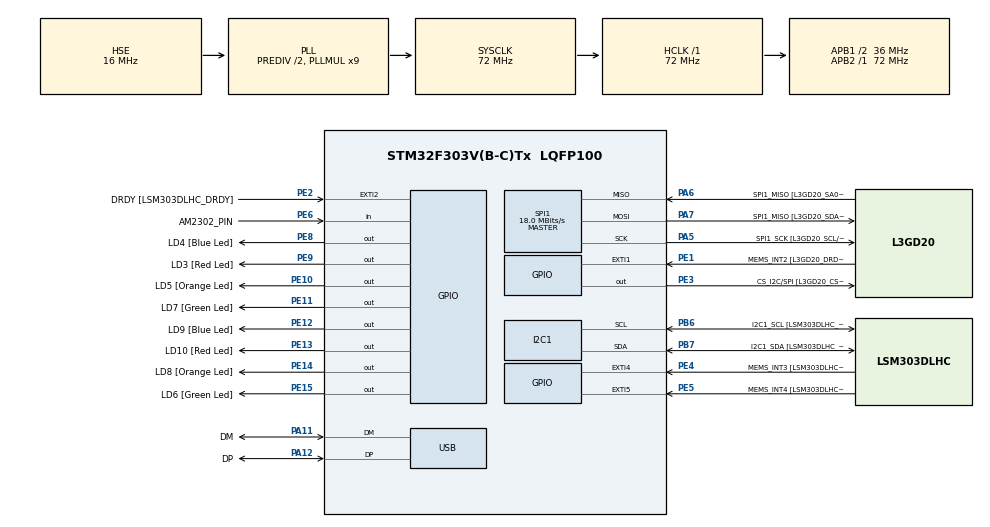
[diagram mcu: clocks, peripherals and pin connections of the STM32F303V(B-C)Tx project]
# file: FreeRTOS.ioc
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FREERTOS.BinarySemaphores01=hd44780_Sem,Dynamic,NULL
FREERTOS.Tasks01=Task_am2302,0,128,StartTask_am2302,Default,NULL,Dynamic,NULL,NULL;Task_RTC_print,-3,128,StartTask_RTC_print,Default,NULL,Dynamic,NULL,NULL;Task_RTC_set,-3,128,StartTask_RTC_set,Default,NULL,Dynamic,NULL,NULL
FREERTOS.configGENERATE_RUN_TIME_STATS=1
FREERTOS.configUSE_STATS_FORMATTING_FUNCTIONS=1
FREERTOS.configUSE_TRACE_FACILITY=1
I2C1.Timing-I2C=0x2000090E
Mcu.Family=STM32F3
Mcu.Name=STM32F303V(B-C)Tx
Mcu.Package=LQFP100
NVIC.PriorityGroup=NVIC_PRIORITYGROUP_4
NVIC.TIM1_UP_TIM16_IRQn=true\:0\:0\:false\:false\:true\:false\:false
NVIC.TIM6_DAC_IRQn=true\:5\:0\:false\:false\:true\:true\:true
NVIC.TimeBase=TIM1_UP_TIM16_IRQn
NVIC.TimeBaseIP=TIM1
PA11.GPIO_Label=DM
PA11.Mode=Device
PA11.Signal=USB_DM
PA12.GPIO_Label=DP
PA12.Mode=Device
PA12.Signal=USB_DP
PA13.GPIO_Label=SWDIO
PA13.Mode=Serial_Wire
PA13.Signal=SYS_JTMS-SWDIO
PA14.GPIO_Label=SWCLK
PA14.Mode=Serial_Wire
PA14.Signal=SYS_JTCK-SWCLK
PA5.GPIO_Label=SPI1_SCK [L3GD20_SCL/SPC]
PA5.Mode=Full_Duplex_Master
PA5.Signal=SPI1_SCK
PA6.GPIO_Label=SPI1_MISO [L3GD20_SA0/SDO]
PA6.Mode=Full_Duplex_Master
PA6.Signal=SPI1_MISO
PA7.GPIO_Label=SPI1_MISO [L3GD20_SDA/SDI/SDO]
PA7.Mode=Full_Duplex_Master
PA7.Signal=SPI1_MOSI
PB3.GPIO_Label=SWO
PB3.Signal=SYS_JTDO-TRACESWO
PB6.GPIO_Label=I2C1_SCL [LSM303DLHC_SCL]
PB6.Mode=I2C
PB6.Signal=I2C1_SCL
PB7.GPIO_Label=I2C1_SDA [LSM303DLHC_SDA]
PB7.Mode=I2C
PB7.Signal=I2C1_SDA
PC14-OSC32_IN.GPIO_Label=OSC32_IN
PC14-OSC32_IN.Mode=LSE-External-Oscillator
PC14-OSC32_IN.Signal=RCC_OSC32_IN
PC15-OSC32_OUT.GPIO_Label=OSC32_OUT
PC15-OSC32_OUT.Mode=LSE-External-Oscillator
PC15-OSC32_OUT.Signal=RCC_OSC32_OUT
PE1.GPIO_Label=MEMS_INT2 [L3GD20_DRDY/INT2]
PE1.GPIO_ModeDefaultEXTI=GPIO_MODE_EVT_RISING
PE1.Signal=GPXTI1
PE10.GPIO_Label=LD5 [Orange Led]
PE10.Signal=GPIO_Output
PE11.GPIO_Label=LD7 [Green Led]
PE11.Signal=GPIO_Output
PE12.GPIO_Label=LD9 [Blue Led]
PE12.Signal=GPIO_Output
PE13.GPIO_Label=LD10 [Red Led]
PE13.Signal=GPIO_Output
PE14.GPIO_Label=LD8 [Orange Led]
PE14.Signal=GPIO_Output
PE15.GPIO_Label=LD6 [Green Led]
PE15.Signal=GPIO_Output
PE2.GPIO_Label=DRDY [LSM303DLHC_DRDY]
PE2.GPIO_ModeDefaultEXTI=GPIO_MODE_EVT_RISING
PE2.Signal=GPXTI2
PE3.GPIO_Label=CS_I2C/SPI [L3GD20_CS_I2C/SPI]
PE3.Signal=GPIO_Output
PE4.GPIO_Label=MEMS_INT3 [LSM303DLHC_INT1]
PE4.GPIO_ModeDefaultEXTI=GPIO_MODE_EVT_RISING
PE4.Signal=GPXTI4
PE5.GPIO_Label=MEMS_INT4 [LSM303DLHC_INT2]
PE5.GPIO_ModeDefaultEXTI=GPIO_MODE_EVT_RISING
PE5.Signal=GPXTI5
PE6.GPIO_Label=AM2302_PIN
PE6.Signal=GPIO_Input
PE8.GPIO_Label=LD4 [Blue Led]
PE8.Signal=GPIO_Output
PE9.GPIO_Label=LD3 [Red Led]
PE9.Signal=GPIO_Output
PF0-OSC_IN.GPIO_Label=OSC_IN
PF0-OSC_IN.Mode=HSE-External-Oscillator
PF0-OSC_IN.Signal=RCC_OSC_IN
PF1-OSC_OUT.GPIO_Label=OSC_OUT
PF1-OSC_OUT.Mode=HSE-External-Oscillator
PF1-OSC_OUT.Signal=RCC_OSC_OUT
ProjectManager.HeapSize=0x200
ProjectManager.StackSize=0x400
ProjectManager.TargetToolchain=EWARM
RCC.AHBFreq_Value=72000000
RCC.APB1CLKDivider=RCC_HCLK_DIV2
RCC.APB1Freq_Value=36000000
RCC.APB1TimFreq_Value=72000000
RCC.APB2Freq_Value=72000000
RCC.APB2TimFreq_Value=72000000
RCC.CortexFreq_Value=72000000
RCC.HCLKFreq_Value=72000000
RCC.HSE_VALUE=16000000
RCC.HSI_VALUE=8000000
RCC.PLLMUL=RCC_PLL_MUL9
RCC.PRESCALERUSB=RCC_USBCLKSOURCE_PLL_DIV1_5
RCC.RCC_PLLsource_Clock_Source_FROM_HSE=RCC_HSE_PREDIV_DIV2
RCC.RTCClockSelection=RCC_RTCCLKSOURCE_LSE
RCC.SYSCLKFreq_VALUE=72000000
RCC.SYSCLKSourceVirtual=RCC_SYSCLKSOURCE_PLLCLK
RCC.USBFreq_Value=48000000
SPI1.BaudRatePrescaler=SPI_BAUDRATEPRESCALER_4
SPI1.BaudRatePrescaler-Full_Duplex_Master=SPI_BAUDRATEPRESCALER_2
SPI1.CalculateBaudRate=18.0 MBits/s
SPI1.CalculateBaudRate-Full_Duplex_Master=24.0 MBits/s
SPI1.Direction=SPI_DIRECTION_2LINES
SPI1.Mode=SPI_MODE_MASTER
SPI1.Mode-Full_Duplex_Master=SPI_MODE_MASTER
SPI1.VirtualType=VM_MASTER
VP_FREERTOS_VS_ENABLE.Mode=Enabled
VP_RTC_VS_RTC_Activate.Mode=RTC_Enabled
VP_RTC_VS_RTC_Calendar.Mode=RTC_Calendar
VP_SYS_VS_tim1.Mode=TIM1
VP_TIM6_VS_ClockSourceINT.Mode=Enable_Timer
board=STM32F3DISCOVERY

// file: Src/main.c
/**
  ******************************************************************************
  * @file           : main.c
  * @brief          : Main program body
  ******************************************************************************
  * This notice applies to any and all portions of this file
  * that are not between comment pairs USER CODE BEGIN and
  * USER CODE END. Other portions of this file, whether
  * inserted by the user or by software development tools
  * are owned by their respective copyright owners.
  *
  * Copyright (c) 2018 STMicroelectronics International N.V.
  * All rights reserved.
  *
  * Redistribution and use in source and binary forms, with or without
  * modification, are permitted, provided that the following conditions are met:
  *
  * 1. Redistribution of source code must retain the above copyright notice,
  *    this list of conditions and the following disclaimer.
  * 2. Redistributions in binary form must reproduce the above copyright notice,
  *    this list of conditions and the following disclaimer in the documentation
  *    and/or other materials provided with the distribution.
  * 3. Neither the name of STMicroelectronics nor the names of other
  *    contributors to this software may be used to endorse or promote products
  *    derived from this software without specific written permission.
  * 4. This software, including modifications and/or derivative works of this
  *    software, must execute solely and exclusively on microcontroller or
  *    microprocessor devices manufactured by or for STMicroelectronics.
  * 5. Redistribution and use of this software other than as permitted under
  *    this license is void and will automatically terminate your rights under
  *    this license.
  *
  * THIS SOFTWARE IS PROVIDED BY STMICROELECTRONICS AND CONTRIBUTORS "AS IS"
  * AND ANY EXPRESS, IMPLIED OR STATUTORY WARRANTIES, INCLUDING, BUT NOT
  * LIMITED TO, THE IMPLIED WARRANTIES OF MERCHANTABILITY, FITNESS FOR A
  * PARTICULAR PURPOSE AND NON-INFRINGEMENT OF THIRD PARTY INTELLECTUAL PROPERTY
  * RIGHTS ARE DISCLAIMED TO THE FULLEST EXTENT PERMITTED BY LAW. IN NO EVENT
  * SHALL STMICROELECTRONICS OR CONTRIBUTORS BE LIABLE FOR ANY DIRECT, INDIRECT,
  * INCIDENTAL, SPECIAL, EXEMPLARY, OR CONSEQUENTIAL DAMAGES (INCLUDING, BUT NOT
  * LIMITED TO, PROCUREMENT OF SUBSTITUTE GOODS OR SERVICES; LOSS OF USE, DATA,
  * OR PROFITS; OR BUSINESS INTERRUPTION) HOWEVER CAUSED AND ON ANY THEORY OF
  * LIABILITY, WHETHER IN CONTRACT, STRICT LIABILITY, OR TORT (INCLUDING
  * NEGLIGENCE OR OTHERWISE) ARISING IN ANY WAY OUT OF THE USE OF THIS SOFTWARE,
  * EVEN IF ADVISED OF THE POSSIBILITY OF SUCH DAMAGE.
  *
  ******************************************************************************
  */
#include "main.h"
#include "stm32f3xx_hal.h"
#include "cmsis_os.h"

/* USER CODE BEGIN Includes */

#include "hd44780.h"
#include "am2302.h"
#include "stdint.h"
#include "keyboard.h"
//#include "arm_math.h"

/* USER CODE END Includes */

I2C_HandleTypeDef hi2c1;

RTC_HandleTypeDef hrtc;

SPI_HandleTypeDef hspi1;

TIM_HandleTypeDef htim6;

PCD_HandleTypeDef hpcd_USB_FS;

osThreadId Task_am2302Handle;
osThreadId Task_RTC_printHandle;
osThreadId Task_RTC_setHandle;
osSemaphoreId hd44780_SemHandle;

/* USER CODE BEGIN PV */
/* Private variables ---------------------------------------------------------*/

state_type clock_state = RUN;

/* USER CODE END PV */

void SystemClock_Config(void);
static void MX_GPIO_Init(void);
static void MX_I2C1_Init(void);
static void MX_SPI1_Init(void);
static void MX_USB_PCD_Init(void);
static void MX_RTC_Init(void);
static void MX_TIM6_Init(void);
void StartTask_am2302(void const * argument);
void StartTask_RTC_print(void const * argument);
void StartTask_RTC_set(void const * argument);

/* USER CODE BEGIN PFP */
/* Private function prototypes -----------------------------------------------*/

/* USER CODE END PFP */

int main(void)
{
  /* USER CODE BEGIN 1 */

  const uint8_t symbol[8]={0x06,0x09,0x09,0x06,0x00,0x00,0x00,0x00};

  /* USER CODE END 1 */

  /* MCU Configuration----------------------------------------------------------*/

  /* Reset of all peripherals, Initializes the Flash interface and the Systick. */
  HAL_Init();

  /* Configure the system clock */
  SystemClock_Config();

  /* Initialize all configured peripherals */
  MX_GPIO_Init();
  MX_I2C1_Init();
  MX_SPI1_Init();
  MX_USB_PCD_Init();
  MX_RTC_Init();
  MX_TIM6_Init();
  /* USER CODE BEGIN 2 */

  hd44780_init ();
  hd44780_user_symbol (0x00, symbol);
  hd44780_clr ();
  hd44780_string (" Иниц-я дисплея", 5);
  hd44780_xy (1, 2);
  hd44780_string (" прошла успешно", 5);
  HAL_Delay (500);

  am2302_init ();
  keyboard_init ();
  hd44780_clr ();

  /* USER CODE END 2 */

  /* Create the semaphores(s) */
  /* definition and creation of hd44780_Sem */
  osSemaphoreDef(hd44780_Sem);
  hd44780_SemHandle = osSemaphoreCreate(osSemaphore(hd44780_Sem), 1);

  /* Create the thread(s) */
  /* definition and creation of Task_am2302 */
  osThreadDef(Task_am2302, StartTask_am2302, osPriorityNormal, 0, 128);
  Task_am2302Handle = osThreadCreate(osThread(Task_am2302), NULL);

  /* definition and creation of Task_RTC_print */
  osThreadDef(Task_RTC_print, StartTask_RTC_print, osPriorityIdle, 0, 128);
  Task_RTC_printHandle = osThreadCreate(osThread(Task_RTC_print), NULL);

  /* definition and creation of Task_RTC_set */
  osThreadDef(Task_RTC_set, StartTask_RTC_set, osPriorityIdle, 0, 128);
  Task_RTC_setHandle = osThreadCreate(osThread(Task_RTC_set), NULL);

  /* Start scheduler */
  osKernelStart();

  /* We should never get here as control is now taken by the scheduler */

  /* Infinite loop */
  while (1)
  {

  }

}

void SystemClock_Config(void)
{

  RCC_OscInitTypeDef RCC_OscInitStruct;
  RCC_ClkInitTypeDef RCC_ClkInitStruct;
  RCC_PeriphCLKInitTypeDef PeriphClkInit;

    /**Configure LSE Drive Capability
    */
  HAL_PWR_EnableBkUpAccess();

  __HAL_RCC_LSEDRIVE_CONFIG(RCC_LSEDRIVE_LOW);

    /**Initializes the CPU, AHB and APB busses clocks
    */
  RCC_OscInitStruct.OscillatorType = RCC_OSCILLATORTYPE_HSI|RCC_OSCILLATORTYPE_HSE
                              |RCC_OSCILLATORTYPE_LSE;
  RCC_OscInitStruct.HSEState = RCC_HSE_ON;
  RCC_OscInitStruct.HSEPredivValue = RCC_HSE_PREDIV_DIV2;
  RCC_OscInitStruct.LSEState = RCC_LSE_ON;
  RCC_OscInitStruct.HSIState = RCC_HSI_ON;
  RCC_OscInitStruct.HSICalibrationValue = 16;
  RCC_OscInitStruct.PLL.PLLState = RCC_PLL_ON;
  RCC_OscInitStruct.PLL.PLLSource = RCC_PLLSOURCE_HSE;
  RCC_OscInitStruct.PLL.PLLMUL = RCC_PLL_MUL9;
  if (HAL_RCC_OscConfig(&RCC_OscInitStruct) != HAL_OK)
  {
    _Error_Handler(__FILE__, __LINE__);
  }

    /**Initializes the CPU, AHB and APB busses clocks
    */
  RCC_ClkInitStruct.ClockType = RCC_CLOCKTYPE_HCLK|RCC_CLOCKTYPE_SYSCLK
                              |RCC_CLOCKTYPE_PCLK1|RCC_CLOCKTYPE_PCLK2;
  RCC_ClkInitStruct.SYSCLKSource = RCC_SYSCLKSOURCE_PLLCLK;
  RCC_ClkInitStruct.AHBCLKDivider = RCC_SYSCLK_DIV1;
  RCC_ClkInitStruct.APB1CLKDivider = RCC_HCLK_DIV2;
  RCC_ClkInitStruct.APB2CLKDivider = RCC_HCLK_DIV1;

  if (HAL_RCC_ClockConfig(&RCC_ClkInitStruct, FLASH_LATENCY_2) != HAL_OK)
  {
    _Error_Handler(__FILE__, __LINE__);
  }

  PeriphClkInit.PeriphClockSelection = RCC_PERIPHCLK_USB|RCC_PERIPHCLK_I2C1
                              |RCC_PERIPHCLK_RTC;
  PeriphClkInit.I2c1ClockSelection = RCC_I2C1CLKSOURCE_HSI;
  PeriphClkInit.RTCClockSelection = RCC_RTCCLKSOURCE_LSE;
  PeriphClkInit.USBClockSelection = RCC_USBCLKSOURCE_PLL_DIV1_5;
  if (HAL_RCCEx_PeriphCLKConfig(&PeriphClkInit) != HAL_OK)
  {
    _Error_Handler(__FILE__, __LINE__);
  }

    /**Configure the Systick interrupt time
    */
  HAL_SYSTICK_Config(HAL_RCC_GetHCLKFreq()/1000);

    /**Configure the Systick
    */
  HAL_SYSTICK_CLKSourceConfig(SYSTICK_CLKSOURCE_HCLK);

  /* SysTick_IRQn interrupt configuration */
  HAL_NVIC_SetPriority(SysTick_IRQn, 15, 0);
}

/* I2C1 init function */
static void MX_I2C1_Init(void)
{

  hi2c1.Instance = I2C1;
  hi2c1.Init.Timing = 0x2000090E;
  hi2c1.Init.OwnAddress1 = 0;
  hi2c1.Init.AddressingMode = I2C_ADDRESSINGMODE_7BIT;
  hi2c1.Init.DualAddressMode = I2C_DUALADDRESS_DISABLE;
  hi2c1.Init.OwnAddress2 = 0;
  hi2c1.Init.OwnAddress2Masks = I2C_OA2_NOMASK;
  hi2c1.Init.GeneralCallMode = I2C_GENERALCALL_DISABLE;
  hi2c1.Init.NoStretchMode = I2C_NOSTRETCH_DISABLE;
  if (HAL_I2C_Init(&hi2c1) != HAL_OK)
  {
    _Error_Handler(__FILE__, __LINE__);
  }

    /**Configure Analogue filter
    */
  if (HAL_I2CEx_ConfigAnalogFilter(&hi2c1, I2C_ANALOGFILTER_ENABLE) != HAL_OK)
  {
    _Error_Handler(__FILE__, __LINE__);
  }

    /**Configure Digital filter
    */
  if (HAL_I2CEx_ConfigDigitalFilter(&hi2c1, 0) != HAL_OK)
  {
    _Error_Handler(__FILE__, __LINE__);
  }

}

/* RTC init function */
static void MX_RTC_Init(void)
{

  RTC_TimeTypeDef sTime;
  RTC_DateTypeDef sDate;

    /**Initialize RTC Only
    */
  hrtc.Instance = RTC;
if(HAL_RTCEx_BKUPRead(&hrtc, RTC_BKP_DR0) != 0x32F2){
  hrtc.Init.HourFormat = RTC_HOURFORMAT_24;
  hrtc.Init.AsynchPrediv = 127;
  hrtc.Init.SynchPrediv = 255;
  hrtc.Init.OutPut = RTC_OUTPUT_DISABLE;
  hrtc.Init.OutPutPolarity = RTC_OUTPUT_POLARITY_HIGH;
  hrtc.Init.OutPutType = RTC_OUTPUT_TYPE_OPENDRAIN;
  if (HAL_RTC_Init(&hrtc) != HAL_OK)
  {
    _Error_Handler(__FILE__, __LINE__);
  }

    /**Initialize RTC and set the Time and Date
    */
  sTime.Hours = 0x0;
  sTime.Minutes = 0x0;
  sTime.Seconds = 0x0;
  sTime.DayLightSaving = RTC_DAYLIGHTSAVING_NONE;
  sTime.StoreOperation = RTC_STOREOPERATION_RESET;
  if (HAL_RTC_SetTime(&hrtc, &sTime, RTC_FORMAT_BCD) != HAL_OK)
  {
    _Error_Handler(__FILE__, __LINE__);
  }

  sDate.WeekDay = RTC_WEEKDAY_MONDAY;
  sDate.Month = RTC_MONTH_JANUARY;
  sDate.Date = 0x1;
  sDate.Year = 0x0;

  if (HAL_RTC_SetDate(&hrtc, &sDate, RTC_FORMAT_BCD) != HAL_OK)
  {
    _Error_Handler(__FILE__, __LINE__);
  }

    HAL_RTCEx_BKUPWrite(&hrtc,RTC_BKP_DR0,0x32F2);
  }

}

/* SPI1 init function */
static void MX_SPI1_Init(void)
{

  /* SPI1 parameter configuration*/
  hspi1.Instance = SPI1;
  hspi1.Init.Mode = SPI_MODE_MASTER;
  hspi1.Init.Direction = SPI_DIRECTION_2LINES;
  hspi1.Init.DataSize = SPI_DATASIZE_4BIT;
  hspi1.Init.CLKPolarity = SPI_POLARITY_LOW;
  hspi1.Init.CLKPhase = SPI_PHASE_1EDGE;
  hspi1.Init.NSS = SPI_NSS_SOFT;
  hspi1.Init.BaudRatePrescaler = SPI_BAUDRATEPRESCALER_4;
  hspi1.Init.FirstBit = SPI_FIRSTBIT_MSB;
  hspi1.Init.TIMode = SPI_TIMODE_DISABLE;
  hspi1.Init.CRCCalculation = SPI_CRCCALCULATION_DISABLE;
  hspi1.Init.CRCPolynomial = 7;
  hspi1.Init.CRCLength = SPI_CRC_LENGTH_DATASIZE;
  hspi1.Init.NSSPMode = SPI_NSS_PULSE_ENABLE;
  if (HAL_SPI_Init(&hspi1) != HAL_OK)
  {
    _Error_Handler(__FILE__, __LINE__);
  }

}

/* TIM6 init function */
static void MX_TIM6_Init(void)
{

  TIM_MasterConfigTypeDef sMasterConfig;

  htim6.Instance = TIM6;
  htim6.Init.Prescaler = 0;
  htim6.Init.CounterMode = TIM_COUNTERMODE_UP;
  htim6.Init.Period = 0;
  htim6.Init.AutoReloadPreload = TIM_AUTORELOAD_PRELOAD_DISABLE;
  if (HAL_TIM_Base_Init(&htim6) != HAL_OK)
  {
    _Error_Handler(__FILE__, __LINE__);
  }

  sMasterConfig.MasterOutputTrigger = TIM_TRGO_RESET;
  sMasterConfig.MasterSlaveMode = TIM_MASTERSLAVEMODE_DISABLE;
  if (HAL_TIMEx_MasterConfigSynchronization(&htim6, &sMasterConfig) != HAL_OK)
  {
    _Error_Handler(__FILE__, __LINE__);
  }

}

/* USB init function */
static void MX_USB_PCD_Init(void)
{

  hpcd_USB_FS.Instance = USB;
  hpcd_USB_FS.Init.dev_endpoints = 8;
  hpcd_USB_FS.Init.speed = PCD_SPEED_FULL;
  hpcd_USB_FS.Init.ep0_mps = DEP0CTL_MPS_64;
  hpcd_USB_FS.Init.phy_itface = PCD_PHY_EMBEDDED;
  hpcd_USB_FS.Init.low_power_enable = DISABLE;
  hpcd_USB_FS.Init.battery_charging_enable = DISABLE;
  if (HAL_PCD_Init(&hpcd_USB_FS) != HAL_OK)
  {
    _Error_Handler(__FILE__, __LINE__);
  }

}

/** Configure pins as
        * Analog
        * Input
        * Output
        * EVENT_OUT
        * EXTI
*/
static void MX_GPIO_Init(void)
{

  GPIO_InitTypeDef GPIO_InitStruct;

  /* GPIO Ports Clock Enable */
  __HAL_RCC_GPIOE_CLK_ENABLE();
  __HAL_RCC_GPIOC_CLK_ENABLE();
  __HAL_RCC_GPIOF_CLK_ENABLE();
  __HAL_RCC_GPIOA_CLK_ENABLE();
  __HAL_RCC_GPIOB_CLK_ENABLE();

  /*Configure GPIO pin Output Level */
  HAL_GPIO_WritePin(GPIOE, CS_I2C_SPI_Pin|LD4_Pin|LD3_Pin|LD5_Pin
                          |LD7_Pin|LD9_Pin|LD10_Pin|LD8_Pin
                          |LD6_Pin, GPIO_PIN_RESET);

  /*Configure GPIO pins : DRDY_Pin MEMS_INT3_Pin MEMS_INT4_Pin MEMS_INT2_Pin */
  GPIO_InitStruct.Pin = DRDY_Pin|MEMS_INT3_Pin|MEMS_INT4_Pin|MEMS_INT2_Pin;
  GPIO_InitStruct.Mode = GPIO_MODE_EVT_RISING;
  GPIO_InitStruct.Pull = GPIO_NOPULL;
  HAL_GPIO_Init(GPIOE, &GPIO_InitStruct);

  /*Configure GPIO pins : CS_I2C_SPI_Pin LD4_Pin LD3_Pin LD5_Pin
                           LD7_Pin LD9_Pin LD10_Pin LD8_Pin
                           LD6_Pin */
  GPIO_InitStruct.Pin = CS_I2C_SPI_Pin|LD4_Pin|LD3_Pin|LD5_Pin
                          |LD7_Pin|LD9_Pin|LD10_Pin|LD8_Pin
                          |LD6_Pin;
  GPIO_InitStruct.Mode = GPIO_MODE_OUTPUT_PP;
  GPIO_InitStruct.Pull = GPIO_NOPULL;
  GPIO_InitStruct.Speed = GPIO_SPEED_FREQ_LOW;
  HAL_GPIO_Init(GPIOE, &GPIO_InitStruct);

  /*Configure GPIO pin : AM2302_PIN_Pin */
  GPIO_InitStruct.Pin = AM2302_PIN_Pin;
  GPIO_InitStruct.Mode = GPIO_MODE_INPUT;
  GPIO_InitStruct.Pull = GPIO_NOPULL;
  HAL_GPIO_Init(AM2302_PIN_GPIO_Port, &GPIO_InitStruct);

}

/* StartTask_am2302 function */
void StartTask_am2302(void const * argument)
{

  /* USER CODE BEGIN 5 */

    am2302_data hum_tmpr;
    hum_tmpr.hum = 0;
    hum_tmpr.tmpr = 0;
    hum_tmpr.paritet = 0;

    /* Infinite loop */
    for(;;) {
        hum_tmpr = am2302_get ();
        if (hd44780_SemHandle != NULL) {
            if (osSemaphoreWait (hd44780_SemHandle , 5) == osOK) {
                if ((hum_tmpr.hum == 0) && (hum_tmpr.tmpr == 0)) {
                  hd44780_xy (11,1);
                  hd44780_string ("AM2302", 0);
                  hd44780_xy (12, 2);
                  hd44780_string ("Error", 0);
                } else {
                  hd44780_xy (13,1);
                  hd44780_send (0x2C, DAT);
                  hd44780_send ((hum_tmpr.tmpr%10)|0x30, DAT);
                  hd44780_send (0x00, DAT);
                  hd44780_send (0x43, DAT);
                  hd44780_xy (12,1);
                  hd44780_num (hum_tmpr.tmpr/10);

                  hd44780_xy (14,2);
                  hd44780_send (0x2C, DAT);
                  hd44780_send ((hum_tmpr.hum%10)|0x30, DAT);
                  hd44780_send (0x25, DAT);
                  hd44780_xy (13,2);
                  hd44780_num (hum_tmpr.hum/10);
                }
            }
            osSemaphoreRelease (hd44780_SemHandle);
        }
        HAL_GPIO_TogglePin (GPIOE, GPIO_PIN_8);
        osDelay (1000);
    }
  /* USER CODE END 5 */
}

/* StartTask_RTC_print function */
void StartTask_RTC_print(void const * argument)
{
  /* USER CODE BEGIN StartTask_RTC_print */

    uint8_t DATE [11];
    uint8_t TIME [9];

    /* Infinite loop */
    for(;;) {
        RTC_HandleTypeDef hrtc;
        RTC_TimeTypeDef sTime;
        RTC_DateTypeDef sDate;
        hrtc.Instance = RTC;

        HAL_RTC_GetTime (&hrtc, &sTime, RTC_FORMAT_BIN);
        HAL_RTC_GetDate (&hrtc, &sDate, RTC_FORMAT_BIN);

        DATE [0] = (sDate.Date/10)|0x30;
        DATE [1] = (sDate.Date%10)|0x30;
        DATE [2] = 0x2F;                       // Symbol "/"
        DATE [3] = (sDate.Month/10)|0x30;
        DATE [4] = (sDate.Month%10)|0x30;
        DATE [5] = 0x2F;                       // Symbol "/"
        DATE [6] = 0x32;                       // Symbol "2"
        DATE [7] = 0x30;                       // Symbol "0"
        DATE [8] = (sDate.Year/10)|0x30;
        DATE [9] = (sDate.Year%10)|0x30;
        DATE [10] = 0;

        TIME [0] = (sTime.Hours/10)|0x30;
        TIME [1] = (sTime.Hours%10)|0x30;
        TIME [2] = 0x3A;                       // Symbol ":"
        TIME [3] = (sTime.Minutes/10)|0x30;
        TIME [4] = (sTime.Minutes%10)|0x30;
        TIME [5] = 0x3A;                       // Symbol ":"
        TIME [6] = (sTime.Seconds/10)|0x30;
        TIME [7] = (sTime.Seconds%10)|0x30;
        TIME [8] = 0;

        if (hd44780_SemHandle != NULL) {
            if(osSemaphoreWait(hd44780_SemHandle , 5) == osOK) {
                hd44780_xy(1, 1);
                hd44780_string (TIME, 0);
                hd44780_xy(1, 2);
                hd44780_string (DATE, 0);
            }
            osSemaphoreRelease(hd44780_SemHandle);
        }

        HAL_GPIO_TogglePin (GPIOE, GPIO_PIN_9);
        osDelay (50);
    }
  /* USER CODE END StartTask_RTC_print */
}

/* StartTask_RTC_set function */
void StartTask_RTC_set(void const * argument)
{
  /* USER CODE BEGIN StartTask_RTC_set */

    uint8_t DATE [11];
    uint8_t TIME [9];
    uint8_t i = 1;
    uint8_t key;

    /* Infinite loop */
    for(;;) {
        switch (clock_state) {
        case (RUN):
            key = keyboard_get_key ();
            if (key == 13) {     // Pressed "D" Enter
                clock_state = GET_TIME;
            }
            break;
        case (GET_TIME):
            osThreadSuspend (Task_RTC_printHandle);
            osThreadSuspend (Task_am2302Handle);

            RTC_HandleTypeDef hrtc;
            RTC_TimeTypeDef sTime;
            RTC_DateTypeDef sDate;
            hrtc.Instance = RTC;

            HAL_RTC_GetTime (&hrtc, &sTime, RTC_FORMAT_BIN);
            HAL_RTC_GetDate (&hrtc, &sDate, RTC_FORMAT_BIN);

            DATE [0] = (sDate.Date/10)|0x30;
            DATE [1] = (sDate.Date%10)|0x30;
            DATE [2] = 0x2F;                       // Symbol "/"
            DATE [3] = (sDate.Month/10)|0x30;
            DATE [4] = (sDate.Month%10)|0x30;
            DATE [5] = 0x2F;                       // Symbol "/"
            DATE [6] = 0x32;                       // Symbol "2"
            DATE [7] = 0x30;                       // Symbol "0"
            DATE [8] = (sDate.Year/10)|0x30;
            DATE [9] = (sDate.Year%10)|0x30;
            DATE [10] = 0;

            TIME [0] = (sTime.Hours/10)|0x30;
            TIME [1] = (sTime.Hours%10)|0x30;
            TIME [2] = 0x3A;                       // Symbol ":"
            TIME [3] = (sTime.Minutes/10)|0x30;
            TIME [4] = (sTime.Minutes%10)|0x30;
            TIME [5] = 0x3A;                       // Symbol ":"
            TIME [6] = (sTime.Seconds/10)|0x30;
            TIME [7] = (sTime.Seconds%10)|0x30;
            TIME [8] = 0;

            hd44780_xy(1, 1);
            hd44780_string (TIME, 0);
            hd44780_xy(1, 2);
            hd44780_string (DATE, 0);
            hd44780_xy (1,1);
            hd44780_conf (DISPLAY_ON, CURSOR_OFF, BLINK_ON);

            clock_state = SET_TIME;
            break;
        case (SET_TIME):
            key = keyboard_get_key ();
            if (key < 10) {         // Pressed 0...9
                TIME [i - 1] = key|0x30;
                hd44780_send (key|0x30, DAT);
                i++;
            } else if (key == 14) { // Pressed "*" <--
                i--;
                hd44780_xy (i, 1);
                if ((i == 3) || (i == 6)) {
                    i--;
                    hd44780_xy (i, 1);
                } else if (i == 0) {
                    i = 18;
                    hd44780_xy (i - 8, 2);
                    clock_state = SET_DATE;
                }
            } else if (key == 15) { // Pressed "#" -->
                i++;
                hd44780_xy (i, 1);
            } else if (key == 13) { // Pressed "D" Enter
                hd44780_conf (DISPLAY_ON, CURSOR_OFF, BLINK_OFF);
                clock_state = WRITE_RTC;
            }

            if ((i == 3) || (i == 6)) {
                i++;
                hd44780_xy (i, 1);
            }
            if (i == 9) {
                hd44780_xy (i - 8, 2);
                clock_state = SET_DATE;
            }
            break;
        case (SET_DATE):
            key = keyboard_get_key ();
            if (key < 10) {
                DATE [i - 9] = key|0x30;
                hd44780_send (key|0x30, DAT);
                i++;
            } else if (key == 14) { // Pressed "*" <--
                i--;
                hd44780_xy (i - 8, 2);
                if ((i == 11) || (i == 14)) {
                    i--;
                    hd44780_xy (i - 8, 2);
                } else if (i == 8) {
                    hd44780_xy (i, 1);
                    clock_state = SET_TIME;
                }
            } else if (key == 15) { // Pressed "#" -->
                i++;
                hd44780_xy (i - 8, 2);
            } else if (key == 13) { // Pressed "D" Enter
                hd44780_conf (DISPLAY_ON, CURSOR_OFF, BLINK_OFF);
                clock_state = WRITE_RTC;
            }
            if ((i == 11) || (i == 14)) {
                i++;
                hd44780_xy (i - 8, 2);
            }
            if (i == 19) {
                i = 1;
                hd44780_xy (i, 1);
                clock_state = SET_TIME;
            }
            break;
        case (WRITE_RTC):
            sDate.Date = ((DATE[0]&0x0F)*10+(DATE[1]&0x0F));
            sDate.Month = ((DATE[3]&0x0F)*10+(DATE[4]&0x0F));
            sDate.Year = ((DATE[8]&0x0F)*10+(DATE[9]&0x0F));

            sTime.Hours = ((TIME[0]&0x0F)*10+(TIME[1]&0x0F));
            sTime.Minutes = ((TIME[3]&0x0F)*10+(TIME[4]&0x0F));
            sTime.Seconds = ((TIME[6]&0x0F)*10+(TIME[7]&0x0F));

            HAL_RTC_SetTime(&hrtc, &sTime, RTC_FORMAT_BIN);
            HAL_RTC_SetDate(&hrtc, &sDate, RTC_FORMAT_BIN);

            clock_state = RUN;
            hd44780_clr ();
            osThreadResume (Task_RTC_printHandle);
            osThreadResume (Task_am2302Handle);
            break;
        }
      osDelay (100);
    }
  /* USER CODE END StartTask_RTC_set */
}

void HAL_TIM_PeriodElapsedCallback(TIM_HandleTypeDef *htim)
{
  if (htim->Instance == TIM1) {
    HAL_IncTick();
  }
}

void _Error_Handler(char *file, int line)
{
  while(1)
  {
  }
}

/************************ (C) COPYRIGHT STMicroelectronics *****END OF FILE****/
